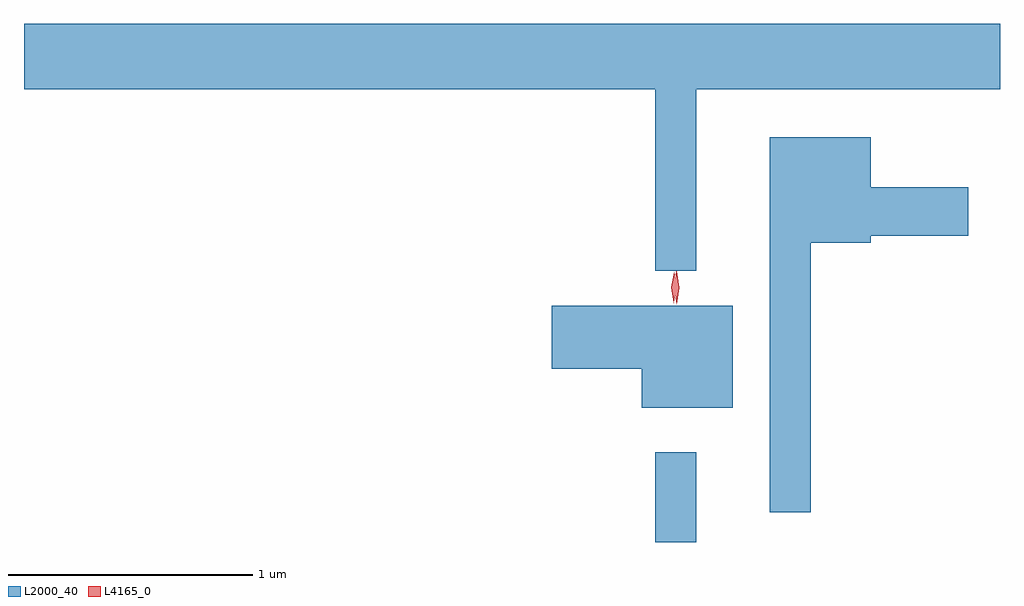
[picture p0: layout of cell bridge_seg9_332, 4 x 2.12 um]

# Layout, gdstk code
import gdstk
lib = gdstk.Library(unit=1e-6, precision=1e-09)
def R(c, l, rs):  # rectangles x0, y0, x1, y1
    for r in rs: c.add(gdstk.rectangle(r[:2], r[2:], *l))
def P(c, l, *ps):  # polygons
    for p in ps: c.add(gdstk.Polygon(p, *l))
L2000_40 = (2000, 40)
L4165_0 = (4165, 0)

bridge_seg9_332 = lib.new_cell('bridge_seg9_332')
R(bridge_seg9_332, L2000_40, [(744.451,2018.82,744.619,2019.188)])
P(bridge_seg9_332, L2000_40, [(744.619,2020.676),(745.864,2020.676),(745.864,2020.944),(741.864,2020.944),(741.864,2020.676),(744.451,2020.676),(744.451,2019.933),(744.619,2019.933)],
  [(745.089,2020.046),(745.334,2020.046),(745.334,2020.076),(745.734,2020.076),(745.734,2020.274),(745.334,2020.274),(745.334,2020.479),(744.921,2020.479),(744.921,2018.943),(745.089,2018.943)],
  [(744.769,2019.789),(744.026,2019.789),(744.026,2019.531),(744.396,2019.531),(744.396,2019.371),(744.769,2019.371)])
P(bridge_seg9_332, L4165_0, [(744.539,2019.794),(744.539,2019.794),(744.529,2019.862),(744.538,2019.93),(744.538,2019.93),(744.539,2019.93),(744.549,2019.862),(744.54,2019.794)],
  [(744.526,2019.8),(744.526,2019.801),(744.517,2019.864),(744.528,2019.926),(744.528,2019.927),(744.528,2019.926),(744.537,2019.863),(744.527,2019.801)])

lib.write_gds('bridge_seg9_332.gds')
